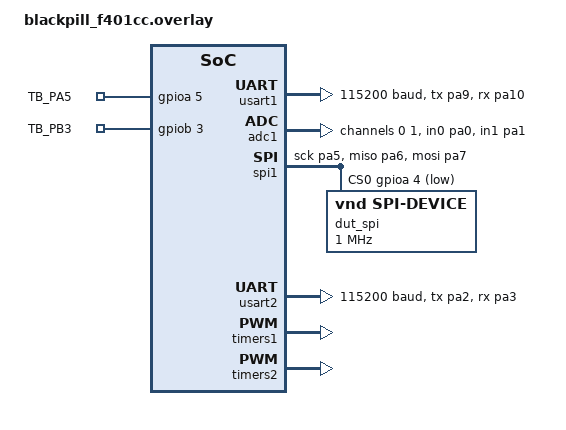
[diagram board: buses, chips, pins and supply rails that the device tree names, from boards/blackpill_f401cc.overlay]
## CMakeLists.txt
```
cmake_minimum_required(VERSION 3.20)
find_package(Zephyr REQUIRED HINTS $ENV{ZEPHYR_BASE})
project(testbench)

target_include_directories(app PRIVATE include)
target_include_directories(app PRIVATE src/dc_motor)

target_sources(app PRIVATE
  src/main.c
  src/tb_gpio.c
  src/tb_pinmap.c
  src/tb_cmds.c
  src/tb_adc.c
  src/tb_spi.c
  src/tb_uart.c
  src/tb_pwm.c
  
  src/dc_motor_math_params.c
  src/dc_motor/dc_motor_math.c
  src/tb_motorsim.c
)
```

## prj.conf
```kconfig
# Shell subsystem
CONFIG_SHELL=y
CONFIG_SHELL_BACKEND_SERIAL=y
CONFIG_SERIAL=y
CONFIG_UART_CONSOLE=y
CONFIG_UART_INTERRUPT_DRIVEN=y
CONFIG_RING_BUFFER=y

# (Optional) Change the shell prompt from "uart:~$" to something custom
CONFIG_SHELL_PROMPT_UART="blackpill:~$ "

CONFIG_SHELL_VT100_COLORS=n

# # Disable echo — critical for Python library parsing later
# CONFIG_SHELL_ECHO_STATUS=n

# Logging (optional, useful for debug)
CONFIG_LOG=y
CONFIG_PRINTK=y
CONFIG_LOG_DEFAULT_LEVEL=3

CONFIG_GPIO=y

CONFIG_ADC=y
CONFIG_ADC_STM32=y

CONFIG_SPI=y

CONFIG_UART_INTERRUPT_DRIVEN=y
CONFIG_RING_BUFFER=y

CONFIG_PWM=y
CONFIG_PWM_CAPTURE=y   # if supported by the STM32 HAL for your Zephyr version
CONFIG_COUNTER=y       # used internally by PWM capture


 # Motor simulation needs floating point + math.h (fabs, etc.)
CONFIG_FPU=y
CONFIG_NEWLIB_LIBC=y
CONFIG_NEWLIB_LIBC_FLOAT_PRINTF=y   # required for %f-ish int-decomposed prints to work cleanly
# Workqueue used to defer model stepping out of timer ISR context
CONFIG_SYSTEM_WORKQUEUE_STACK_SIZE=2048
```

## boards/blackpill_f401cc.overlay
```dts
/ {
    chosen {
        zephyr,shell-uart = &usart1;
    };
};

/* USART1: PA9 (TX) → USB-TTL RX, PA10 (RX) → USB-TTL TX */
&usart1 {
    status = "okay";
    current-speed = <115200>;
    pinctrl-0 = <&usart1_tx_pa9 &usart1_rx_pa10>;
    pinctrl-names = "default";
};

/ {
    testbench_gpios {
        compatible = "gpio-keys";

        tb_pa5: tb_pa5 {
            gpios = <&gpioa 5 GPIO_ACTIVE_HIGH>;
            label = "TB_PA5";
        };
        tb_pb3: tb_pb3 {
            gpios = <&gpiob 3 GPIO_ACTIVE_HIGH>;
            label = "TB_PB3";
        };
        /* add more pins as needed */
    };
};

&gpioa { status = "okay"; };
&gpiob { status = "okay"; };


&adc1 {
    status = "okay";
    #address-cells = <1>;
    #size-cells = <0>;
    pinctrl-0 = <&adc1_in0_pa0 &adc1_in1_pa1>;
    pinctrl-names = "default";
    vref-mv = <3300>;

    channel@0 {
        reg = <0>;
        zephyr,gain = "ADC_GAIN_1";
        zephyr,reference = "ADC_REF_INTERNAL";
        zephyr,acquisition-time = <ADC_ACQ_TIME_DEFAULT>;
        zephyr,resolution = <12>;
    };

    channel@1 {
        reg = <1>;
        zephyr,gain = "ADC_GAIN_1";
        zephyr,reference = "ADC_REF_INTERNAL";
        zephyr,acquisition-time = <ADC_ACQ_TIME_DEFAULT>;
        zephyr,resolution = <12>;
    };
};

/* SPI1: PA5=SCK, PA6=MISO, PA7=MOSI, PA4=CS (software-controlled) */
&spi1 {
    status = "okay";
    pinctrl-0 = <&spi1_sck_pa5 &spi1_miso_pa6 &spi1_mosi_pa7>;
    pinctrl-names = "default";
    cs-gpios = <&gpioa 4 GPIO_ACTIVE_LOW>;

    dut_spi: dut@0 {
        compatible = "vnd,spi-device";
        reg = <0>;
        spi-max-frequency = <1000000>;
    };
};

/* USART2: PA2 (TX → DUT RX), PA3 (RX ← DUT TX) */
&usart2 {
    status = "okay";
    current-speed = <115200>;
    pinctrl-0 = <&usart2_tx_pa2 &usart2_rx_pa3>;
    pinctrl-names = "default";
};

/* TIM1 CH1 on PA8 → PWM output to DUT */
&timers1 {
    status = "okay";
    st,prescaler = <0>;

    pwm1: pwm {
        status = "okay";
        pinctrl-0 = <&tim1_ch1_pa8>;
        pinctrl-names = "default";
    };
};

/* TIM2 CH2 on PA1 → PWM input capture from DUT */
&timers2 {
    status = "okay";
    st,prescaler = <0>;

    pwm2: pwm {
        status = "okay";
        pinctrl-0 = <&tim2_ch2_pa1>;
        pinctrl-names = "default";
    };
};
```

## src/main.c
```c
#include <zephyr/kernel.h>
#include <zephyr/shell/shell.h>
#include <zephyr/shell/shell_uart.h>
#include "tb_motorsim.h"

int main(void)
{    
    printk("Testbench ready. Type 'help' or Start using 'tb'\n");

    tb_motorsim_init();
    printk("Motor Simulation ready. Type 'help' or Start using 'motorsim'\n");
    return 0;
}
```

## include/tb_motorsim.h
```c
/*
 * tb_motorsim.h
 *
 * Testbench DC motor plant simulation - shell command interface.
 * Wraps the Simulink-generated dc_motor_math model and exposes it
 * over the Zephyr shell so Robot Framework / Python tooling can
 * drive it from the host.
 */

#ifndef TB_MOTORSIM_H_
#define TB_MOTORSIM_H_

#include <zephyr/kernel.h>

/* How the testbench reads the DUT's voltage command */
typedef enum {
    TB_MOTORSIM_SRC_ADC = 0,   /* read an analog voltage on an ADC pin */
    TB_MOTORSIM_SRC_PWM = 1,   /* read a PWM duty cycle and treat duty% as the command */
} tb_motorsim_src_t;

/* Called once at boot to register the k_timer / thread plumbing. */
void tb_motorsim_init(void);

#endif /* TB_MOTORSIM_H_ */
```

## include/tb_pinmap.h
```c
/* tb_pinmap.h */
#include <zephyr/drivers/gpio.h>

typedef struct {
    const char *name;        /* "PA5", "PB3", etc. */
    const struct device *port;
    gpio_pin_t pin;
} tb_pin_t;

const tb_pin_t *tb_pin_lookup(const char *name);
```

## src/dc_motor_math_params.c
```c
/*
 * dc_motor_math_params.c
 *
 * Hand-written file (NOT generated by Simulink Coder).
 *
 * The generated dc_motor_math model declares these as `extern` in
 * dc_motor_math_private.h but never defines them anywhere in the
 * generated sources -- normally Simulink bakes these in from MATLAB
 * workspace variables, but that step was skipped/not applicable here.
 *
 * Adjust the numeric values below to match your actual motor's
 * datasheet parameters. Units:
 *   R  - armature resistance       [Ohm]
 *   L  - armature inductance       [H]
 *   J  - rotor inertia             [kg*m^2]
 *   K  - torque/back-EMF constant  [N*m/A]  (Kt == Ke assumed equal, SI units)
 *   b  - viscous friction coeff    [N*m*s]
 *
 * Integrator1_IC = initial speed  [rad/s]
 * Integrator_IC  = initial current [A]
 */

#include "rtwtypes.h"

// real_T dc_motor_math_R = 2.0;          /* Ohm */
// real_T dc_motor_math_L = 0.05;         /* H   */
// real_T dc_motor_math_J = 0.0005;       /* kg*m^2 */
// real_T dc_motor_math_K = 0.1;          /* N*m/A (== V*s/rad) */
// real_T dc_motor_math_b = 0.0003;       /* N*m*s */

// real_T dc_motor_math_Integrator_IC  = 0.0;  /* initial current, A */
// real_T dc_motor_math_Integrator1_IC = 0.0;  /* initial speed, rad/s */


/* ConstVolatile memory section */
/* Definition for custom storage class: ConstVolatile */
 real_T dc_motor_math_Integrator1_IC = 0.0;/* Referenced by: '<Root>/Integrator1' */
 real_T dc_motor_math_Integrator_IC = 0.0;/* Referenced by: '<Root>/Integrator' */
 real_T dc_motor_math_J = 0.01;/* Referenced by: '<Root>/Inertia' */
 real_T dc_motor_math_K = 0.01;/* Referenced by:
                                              * '<Root>/Ke'
                                              * '<Root>/Kt'
                                              */
 real_T dc_motor_math_L = 0.5;/* Referenced by: '<Root>/Inductance' */
 real_T dc_motor_math_R = 1.0;/* Referenced by: '<Root>/Resistance' */
 real_T dc_motor_math_b = 0.1;/* Referenced by: '<Root>/Damping' */
```

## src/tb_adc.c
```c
#include <zephyr/shell/shell.h>
#include <zephyr/drivers/adc.h>

#define ADC_DEV  DEVICE_DT_GET(DT_NODELABEL(adc1))
#define ADC_VREF 3300   /* mV */
#define ADC_RES  12     /* bits */

/* Map "PA0" → channel 0, "PA1" → channel 1, etc. */
int pin_to_channel(const char *pin)
{
    if (strcmp(pin, "PA0") == 0) return 0;
    if (strcmp(pin, "PA1") == 0) return 1;
    if (strcmp(pin, "PA2") == 0) return 2;
    if (strcmp(pin, "PA3") == 0) return 3;
    return -1;
}

int cmd_adc_read(const struct shell *sh, size_t argc, char **argv)
{
    if (argc != 2) {
        shell_error(sh, "ERROR: usage: tb adc read <pin>");
        return -EINVAL;
    }

    int ch = pin_to_channel(argv[1]);
    if (ch < 0) {
        shell_error(sh, "ERROR: unknown ADC pin %s", argv[1]);
        return -ENODEV;
    }

    const struct device *adc = ADC_DEV;
    int16_t buf;
    struct adc_sequence seq = {
        .channels    = BIT(ch),
        .buffer      = &buf,
        .buffer_size = sizeof(buf),
        .resolution  = ADC_RES,
    };

    int ret = adc_read(adc, &seq);
    if (ret < 0) {
        shell_error(sh, "ERROR: adc_read failed %d", ret);
        return ret;
    }

    int32_t mv = (int32_t)buf * ADC_VREF / ((1 << ADC_RES) - 1);
    shell_print(sh, "%d mV", mv);
    return 0;
}
```

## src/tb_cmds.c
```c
#include <zephyr/shell/shell.h>

/* Declared extern in each peripheral's .c file */
extern int cmd_gpio_get(const struct shell *sh, size_t argc, char **argv);
extern int cmd_gpio_set(const struct shell *sh, size_t argc, char **argv);

extern int pin_to_channel(const char *pin);
extern int cmd_adc_read(const struct shell *sh, size_t argc, char **argv);

extern int parse_hex_args(size_t argc, char **argv, uint8_t *out, size_t max);
extern int cmd_spi_transfer(const struct shell *sh, size_t argc, char **argv);

extern int cmd_uart_send(const struct shell *sh, size_t argc, char **argv);
extern int cmd_uart_recv(const struct shell *sh, size_t argc, char **argv);
 
extern int cmd_pwm_set(const struct shell *sh, size_t argc, char **argv);
extern int cmd_pwm_capture(const struct shell *sh, size_t argc, char **argv);

extern int cmd_motorsim_get(const struct shell *sh, size_t argc, char **argv);
extern int cmd_motorsim_stop(const struct shell *sh, size_t argc, char **argv);
extern int cmd_motorsim_start(const struct shell *sh, size_t argc, char **argv);
extern int cmd_motorsim_stream(const struct shell *sh, size_t argc, char **argv);
extern int cmd_motorsim_source(const struct shell *sh, size_t argc, char **argv);
extern int cmd_motorsim_params(const struct shell *sh, size_t argc, char **argv);


SHELL_STATIC_SUBCMD_SET_CREATE(sub_gpio,
    SHELL_CMD_ARG(set, NULL, "set <pin> <0|1>", cmd_gpio_set, 3, 0),
    SHELL_CMD_ARG(get, NULL, "get <pin>",       cmd_gpio_get, 2, 0),
    SHELL_SUBCMD_SET_END
);
SHELL_STATIC_SUBCMD_SET_CREATE(sub_adc,
    SHELL_CMD_ARG(read, NULL, "read <pin>", cmd_adc_read, 2, 0),
    SHELL_SUBCMD_SET_END
);

SHELL_STATIC_SUBCMD_SET_CREATE(sub_spi,
    SHELL_CMD_ARG(trans, NULL, "xfer <bus> <byte>...", cmd_spi_transfer, 3, 62),
    SHELL_SUBCMD_SET_END
);

SHELL_STATIC_SUBCMD_SET_CREATE(sub_uart,
    SHELL_CMD_ARG(send, NULL, "send <dev> <str>", cmd_uart_send, 3, 10),
    SHELL_CMD_ARG(recv, NULL, "recv <dev> <ms>",  cmd_uart_recv, 3, 0),
    SHELL_SUBCMD_SET_END
);

SHELL_STATIC_SUBCMD_SET_CREATE(sub_pwm,
    SHELL_CMD_ARG(set,     NULL, "set <pin> <hz> <duty%>", cmd_pwm_set, 4, 0),
    SHELL_CMD_ARG(capture, NULL, "capture <pin>",          cmd_pwm_capture, 1, 1),
    SHELL_SUBCMD_SET_END
);

SHELL_STATIC_SUBCMD_SET_CREATE(sub_motorsim,
    SHELL_CMD_ARG(start,  NULL, "start <adc|pwm> <pin> [vmax_mv]",  cmd_motorsim_start,  3, 1),
    SHELL_CMD_ARG(stop,   NULL, "stop the simulation",              cmd_motorsim_stop,   1, 0),
    SHELL_CMD_ARG(get,    NULL, "get current state (one-shot)",     cmd_motorsim_get,    1, 0),
    SHELL_CMD_ARG(stream, NULL, "stream <on|off>",                  cmd_motorsim_stream, 2, 0),
    SHELL_CMD_ARG(source, NULL, "source <adc|pwm> <pin>",           cmd_motorsim_source, 3, 0),
    SHELL_CMD_ARG(params, NULL, "params <R> <L> <J> <K> <b>",       cmd_motorsim_params, 6, 0),
    SHELL_SUBCMD_SET_END
);

static int cmd_ping(const struct shell *sh, size_t argc, char **argv)
{
    shell_print(sh, "pong");
    return 0;
}

SHELL_STATIC_SUBCMD_SET_CREATE(sub_tb,
    SHELL_CMD(gpio,  &sub_gpio,  "GPIO control (set/get)",         NULL),
    SHELL_CMD(adc,   &sub_adc,   "ADC read (read)",                NULL),
    SHELL_CMD(spi,   &sub_spi,   "SPI transfer (trans)",            NULL),
    SHELL_CMD(uart,  &sub_uart,  "UART to DUT (send/recv)",        NULL),
    SHELL_CMD(pwm,   &sub_pwm,   "PWM output and capture",         NULL),
    SHELL_CMD(motorsim, &sub_motorsim, "DC motor plant simulation", NULL),
    SHELL_CMD(ping, NULL, "Ping testbench", cmd_ping),
    SHELL_SUBCMD_SET_END
);

SHELL_CMD_REGISTER(tb, &sub_tb, "Testbench commands", NULL);
```

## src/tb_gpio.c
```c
#include <zephyr/shell/shell.h>
#include <zephyr/drivers/gpio.h>
#include <zephyr/kernel.h>
#include <stdlib.h>
#include "tb_pinmap.h"

int cmd_gpio_set(const struct shell *sh, size_t argc, char **argv)
{
    if (argc != 3) {
        shell_error(sh, "ERROR: usage: tb gpio set <pin> <0|1>");
        return -EINVAL;
    }
    const tb_pin_t *p = tb_pin_lookup(argv[1]);
    if (!p) {
        shell_error(sh, "ERROR: unknown pin %s", argv[1]);
        return -ENODEV;
    }
    int val = atoi(argv[2]);
    gpio_pin_configure(p->port, p->pin, GPIO_OUTPUT);
    gpio_pin_set(p->port, p->pin, val);
    shell_print(sh, "OK");
    return 0;
}

int cmd_gpio_get(const struct shell *sh, size_t argc, char **argv)
{
    if (argc != 2) {
        shell_error(sh, "ERROR: usage: tb gpio get <pin>");
        return -EINVAL;
    }
    const tb_pin_t *p = tb_pin_lookup(argv[1]);
    if (!p) {
        shell_error(sh, "ERROR: unknown pin %s", argv[1]);
        return -ENODEV;
    }
    gpio_pin_configure(p->port, p->pin, GPIO_INPUT);
    int val = gpio_pin_get(p->port, p->pin);
    shell_print(sh, "%d", val);
    return 0;
}
```

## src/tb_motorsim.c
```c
/*
 * tb_motorsim.c
 *
 * Testbench DC motor plant simulation.
 *
 * Wraps the Simulink-generated dc_motor_math model (voltage -> speed,
 * 2 continuous states: armature current, rotor speed) and drives it
 * from a real DUT input signal that can be EITHER:
 *
 *   - an analog voltage read via ADC                  (tb motorsim start adc <pin>)
 *   - a PWM duty cycle, interpreted as 0-100% -> 0-Vmax (tb motorsim start pwm <pin>)
 *
 * The simulated speed is:
 *   - readable on demand          (tb motorsim get)
 *   - streamed continuously       (tb motorsim stream on/off)
 *     Uses uart_poll_out() directly to bypass printk/log subsystem,
 *     guaranteeing raw MSIM lines reach the host without prefixing
 *     or buffering issues.
 *
 * Shell command tree (registered in tb_cmds.c):
 *   tb motorsim start <adc|pwm> <pin> [vmax_mv]
 *   tb motorsim stop
 *   tb motorsim get
 *   tb motorsim stream <on|off>
 *   tb motorsim source <adc|pwm> <pin>      (change source while NOT running)
 *   tb motorsim params <R> <L> <J> <K> <b>  (override plant parameters at runtime)
 */

#include <zephyr/kernel.h>
#include <zephyr/shell/shell.h>
#include <zephyr/drivers/adc.h>
#include <zephyr/drivers/pwm.h>
#include <zephyr/drivers/uart.h>
#include <zephyr/device.h>
#include <stdlib.h>
#include <string.h>
#include <stdio.h>
#include <math.h>     /* fabs() */

#include "dc_motor_math.h"
#include "tb_motorsim.h"

/* ------------------------------------------------------------------ */
/* Configuration                                                       */
/* ------------------------------------------------------------------ */

#define MOTORSIM_STEP_MS   200     /* must match dc_motor_math_M->Timing.stepSize0 (0.2s) */
#define ADC_RESOLUTION     12
#define ADC_VREF_MV        3300
#define DEFAULT_VMAX_MV    3300    /* voltage that maps to 100% PWM duty or full-scale ADC */

#define ADC_DEV_NODE       DT_NODELABEL(adc1)
#define PWM_IN_DEV_NODE    DT_NODELABEL(pwm2)   /* capture-capable PWM timer, see Stage 7 overlay */

/* Shell UART device for raw stream output (bypass printk/logging) */
#define SHELL_UART_NODE    DT_NODELABEL(usart1)

/* ------------------------------------------------------------------ */
/* State                                                               */
/* ------------------------------------------------------------------ */

static struct k_timer       motorsim_timer;
static struct k_work        motorsim_work;
static bool                 sim_running;
static bool                 stream_enabled;
static tb_motorsim_src_t    input_source = TB_MOTORSIM_SRC_ADC;
static int                  input_channel = 0;   /* ADC channel index OR PWM capture channel index */
static uint32_t             vmax_mv = DEFAULT_VMAX_MV;
static uint32_t             step_count;

static const struct device *adc_dev;
static const struct device *pwm_in_dev;
static const struct device *shell_uart_dev;

/* ------------------------------------------------------------------ */
/* Pin name -> ADC channel lookup (extend as needed, mirrors Stage 4) */
/* ------------------------------------------------------------------ */

static int pin_to_adc_channel(const char *pin)
{
    if (strcmp(pin, "PA0") == 0) return 0;
    if (strcmp(pin, "PA1") == 0) return 1;
    if (strcmp(pin, "PA2") == 0) return 2;
    if (strcmp(pin, "PA3") == 0) return 3;
    return -1;
}

/* PWM capture channel lookup -- mirrors Stage 7 overlay (pwm2 = TIM2 CH2 on PA1) */
static int pin_to_pwm_channel(const char *pin)
{
    if (strcmp(pin, "PA1") == 0) return 1;   /* TIM2 CH2 */
    return -1;
}

/* ------------------------------------------------------------------ */
/* Raw UART output helper (bypasses printk/log subsystem)            */
/* ------------------------------------------------------------------ */

static void shell_uart_write_line(const char *buf, size_t len)
{
    if (!shell_uart_dev) {
        return;
    }
    for (size_t i = 0; i < len; i++) {
        uart_poll_out(shell_uart_dev, buf[i]);
    }
}

/* ------------------------------------------------------------------ */
/* ADC read helper (properly configured)                              */
/* ------------------------------------------------------------------ */

static int16_t adc_read_channel(int channel)
{
    int16_t buf = 0;

    struct adc_sequence seq = {
        .channels    = BIT(channel),
        .buffer      = &buf,
        .buffer_size = sizeof(buf),
        .resolution  = ADC_RESOLUTION,
    };

    int ret = adc_read(adc_dev, &seq);
    if (ret < 0) {
        return -1;
    }

    return buf;
}

/* ------------------------------------------------------------------ */
/* Input acquisition                                                   */
/* ------------------------------------------------------------------ */

/* Returns the DUT's commanded voltage in volts (0.0 - vmax_mv/1000.0) */
static real_T read_input_voltage(void)
{
    if (input_source == TB_MOTORSIM_SRC_ADC) {
        int16_t raw = adc_read_channel(input_channel);
        if (raw < 0) {
            return 0.0;
        }

        /* Convert raw ADC to millivolts */
        int32_t mv = ((int32_t)raw * ADC_VREF_MV) / ((1 << ADC_RESOLUTION) - 1);
        if (mv < 0) mv = 0;

        return (real_T)mv / 1000.0;

    } else {
        /* PWM source: capture duty cycle, map 0-100% -> 0-vmax */
        uint64_t period_ns = 0, pulse_ns = 0;
        int ret = pwm_capture_nsec(pwm_in_dev, input_channel,
                                   PWM_CAPTURE_TYPE_BOTH,
                                   &period_ns, &pulse_ns,
                                   K_MSEC(50));
        if (ret < 0 || period_ns == 0) {
            return 0.0;
        }
        uint32_t duty_pct = (uint32_t)((uint64_t)pulse_ns * 100U / period_ns);
        if (duty_pct > 100) duty_pct = 100;
        return ((real_T)duty_pct / 100.0) * ((real_T)vmax_mv / 1000.0);
    }
}

/* ------------------------------------------------------------------ */
/* Format helpers: convert double to "int.frac" safely                */
/* ------------------------------------------------------------------ */

static void fmt_double(char *buf, size_t buflen, real_T val)
{
    /* Handle NaN/inf */
    if (!isfinite(val)) {
        snprintf(buf, buflen, "0.000");
        return;
    }

    int sign = (val < 0) ? -1 : 1;
    real_T absval = val * sign;
    int intpart = (int)absval;
    int fracpart = (int)((absval - intpart) * 1000.0 + 0.5);
    if (fracpart >= 1000) { fracpart = 0; intpart++; }

    if (sign < 0) {
        snprintf(buf, buflen, "-%d.%03d", intpart, fracpart);
    } else {
        snprintf(buf, buflen, "%d.%03d", intpart, fracpart);
    }
}

/* ------------------------------------------------------------------ */
/* Simulation step (runs in a workqueue, NOT in timer ISR context)    */
/* ------------------------------------------------------------------ */

static void motorsim_work_handler(struct k_work *work)
{
    ARG_UNUSED(work);

    if (!sim_running) {
        return;
    }

    /* 1. Acquire the DUT's voltage command from the selected source */
    dc_motor_math_U.voltage_in = read_input_voltage();
    dc_motor_math_U.load_in = 0.0;  /* no external load by default */

    /* 2. Step the model (internally runs the ODE3 fixed-step solver) */
    dc_motor_math_step();
    step_count++;

    /* 3. Stream a line to the host if streaming is enabled.
     *    Uses uart_poll_out() directly to bypass printk/log subsystem,
     *    preventing timestamp prefixing, buffering, or dropped lines.
     *    Format: MSIM,t_ms,voltage_v,speed_radps,current_a
     */
    if (stream_enabled) {
        real_T current = dc_motor_math_X.Integrator_CSTATE;
        real_T speed   = dc_motor_math_X.Integrator1_CSTATE;
        uint32_t t_ms  = step_count * MOTORSIM_STEP_MS;

        char v_str[16], s_str[16], c_str[16];
        fmt_double(v_str, sizeof(v_str), dc_motor_math_U.voltage_in);
        fmt_double(s_str, sizeof(s_str), speed);
        fmt_double(c_str, sizeof(c_str), current);

        char line[96];
        int n = snprintf(line, sizeof(line),
            "MSIM,%u,%s,%s,%s\n",
            t_ms, v_str, s_str, c_str);

        if (n > 0 && n < (int)sizeof(line)) {
            shell_uart_write_line(line, (size_t)n);
        }
    }
}

static void motorsim_timer_handler(struct k_timer *timer)
{
    ARG_UNUSED(timer);
    /* Defer the actual work out of ISR context */
    k_work_submit(&motorsim_work);
}

/* ------------------------------------------------------------------ */
/* Shell commands                                                      */
/* ------------------------------------------------------------------ */

int cmd_motorsim_start(const struct shell *sh, size_t argc, char **argv)
{
    if (sim_running) {
        shell_error(sh, "ERROR: simulation already running");
        return -EALREADY;
    }
    if (argc < 3) {
        shell_error(sh, "ERROR: usage: tb motorsim start <adc|pwm> <pin> [vmax_mv]");
        return -EINVAL;
    }

    if (strcmp(argv[1], "adc") == 0) {
        int ch = pin_to_adc_channel(argv[2]);
        if (ch < 0) {
            shell_error(sh, "ERROR: unknown ADC pin %s", argv[2]);
            return -ENODEV;
        }
        input_source  = TB_MOTORSIM_SRC_ADC;
        input_channel = ch;
    } else if (strcmp(argv[1], "pwm") == 0) {
        int ch = pin_to_pwm_channel(argv[2]);
        if (ch < 0) {
            shell_error(sh, "ERROR: unknown PWM capture pin %s", argv[2]);
            return -ENODEV;
        }
        input_source  = TB_MOTORSIM_SRC_PWM;
        input_channel = ch;
    } else {
        shell_error(sh, "ERROR: source must be 'adc' or 'pwm', got '%s'", argv[1]);
        return -EINVAL;
    }

    if (argc >= 4) {
        vmax_mv = (uint32_t)atoi(argv[3]);
    } else {
        vmax_mv = DEFAULT_VMAX_MV;
    }

    dc_motor_math_initialize();
    step_count = 0;
    sim_running = true;
    stream_enabled = false;

    k_timer_start(&motorsim_timer, K_MSEC(MOTORSIM_STEP_MS), K_MSEC(MOTORSIM_STEP_MS));

    shell_print(sh, "OK source=%s pin=%s vmax_mv=%u step_ms=%u",
                argv[1], argv[2], vmax_mv, MOTORSIM_STEP_MS);
    return 0;
}

int cmd_motorsim_stop(const struct shell *sh, size_t argc, char **argv)
{
    ARG_UNUSED(argc);
    ARG_UNUSED(argv);

    if (!sim_running) {
        shell_error(sh, "ERROR: simulation not running");
        return -EALREADY;
    }
    k_timer_stop(&motorsim_timer);
    dc_motor_math_terminate();
    sim_running = false;
    stream_enabled = false;
    shell_print(sh, "OK");
    return 0;
}

int cmd_motorsim_get(const struct shell *sh, size_t argc, char **argv)
{
    ARG_UNUSED(argc);
    ARG_UNUSED(argv);

    if (!sim_running) {
        shell_error(sh, "ERROR: simulation not running");
        return -EAGAIN;
    }

    real_T current = dc_motor_math_X.Integrator_CSTATE;
    real_T speed   = dc_motor_math_X.Integrator1_CSTATE;

    char v_str[16], s_str[16], c_str[16];
    fmt_double(v_str, sizeof(v_str), dc_motor_math_U.voltage_in);
    fmt_double(s_str, sizeof(s_str), speed);
    fmt_double(c_str, sizeof(c_str), current);

    shell_print(sh, "t_ms=%u voltage_v=%s speed_radps=%s current_a=%s",
                step_count * MOTORSIM_STEP_MS, v_str, s_str, c_str);
    return 0;
}

int cmd_motorsim_stream(const struct shell *sh, size_t argc, char **argv)
{
    if (argc != 2) {
        shell_error(sh, "ERROR: usage: tb motorsim stream <on|off>");
        return -EINVAL;
    }
    if (strcmp(argv[1], "on") == 0) {
        stream_enabled = true;
        shell_print(sh, "OK streaming on (format: MSIM,t_ms,voltage_v,speed_radps,current_a)");
    } else if (strcmp(argv[1], "off") == 0) {
        stream_enabled = false;
        shell_print(sh, "OK streaming off");
    } else {
        shell_error(sh, "ERROR: must be 'on' or 'off'");
        return -EINVAL;
    }
    return 0;
}

int cmd_motorsim_source(const struct shell *sh, size_t argc, char **argv)
{
    /* Allows changing source without starting the sim (e.g. for setup verification) */
    if (sim_running) {
        shell_error(sh, "ERROR: stop the simulation before changing source");
        return -EBUSY;
    }
    if (argc != 3) {
        shell_error(sh, "ERROR: usage: tb motorsim source <adc|pwm> <pin>");
        return -EINVAL;
    }
    if (strcmp(argv[1], "adc") == 0) {
        int ch = pin_to_adc_channel(argv[2]);
        if (ch < 0) {
            shell_error(sh, "ERROR: unknown ADC pin %s", argv[2]);
            return -ENODEV;
        }
        input_source = TB_MOTORSIM_SRC_ADC;
        input_channel = ch;
    } else if (strcmp(argv[1], "pwm") == 0) {
        int ch = pin_to_pwm_channel(argv[2]);
        if (ch < 0) {
            shell_error(sh, "ERROR: unknown PWM capture pin %s", argv[2]);
            return -ENODEV;
        }
        input_source = TB_MOTORSIM_SRC_PWM;
        input_channel = ch;
    } else {
        shell_error(sh, "ERROR: source must be 'adc' or 'pwm'");
        return -EINVAL;
    }
    shell_print(sh, "OK");
    return 0;
}

int cmd_motorsim_params(const struct shell *sh, size_t argc, char **argv)
{
    /* tb motorsim params <R> <L> <J> <K> <b> */
    extern real_T dc_motor_math_R, dc_motor_math_L, dc_motor_math_J;
    extern real_T dc_motor_math_K, dc_motor_math_b;

    if (sim_running) {
        shell_error(sh, "ERROR: stop the simulation before changing params");
        return -EBUSY;
    }
    if (argc != 6) {
        shell_error(sh, "ERROR: usage: tb motorsim params <R> <L> <J> <K> <b>");
        return -EINVAL;
    }
    dc_motor_math_R = atof(argv[1]);
    dc_motor_math_L = atof(argv[2]);
    dc_motor_math_J = atof(argv[3]);
    dc_motor_math_K = atof(argv[4]);
    dc_motor_math_b = atof(argv[5]);

    shell_print(sh, "OK R=%s L=%s J=%s K=%s b=%s",
                argv[1], argv[2], argv[3], argv[4], argv[5]);
    return 0;
}

/* ------------------------------------------------------------------ */
/* Init                                                                */
/* ------------------------------------------------------------------ */

void tb_motorsim_init(void)
{
    adc_dev    = DEVICE_DT_GET(ADC_DEV_NODE);
    pwm_in_dev = DEVICE_DT_GET(PWM_IN_DEV_NODE);
    shell_uart_dev = DEVICE_DT_GET(SHELL_UART_NODE);

    k_work_init(&motorsim_work, motorsim_work_handler);
    k_timer_init(&motorsim_timer, motorsim_timer_handler, NULL);
}
```

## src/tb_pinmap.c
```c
/* tb_pinmap.c */
#include "tb_pinmap.h"
#include <zephyr/device.h>

static const tb_pin_t pin_table[] = {
    { "PA5", DEVICE_DT_GET(DT_NODELABEL(gpioa)), 5 },
    { "PA6", DEVICE_DT_GET(DT_NODELABEL(gpioa)), 6 },
    { "PB3", DEVICE_DT_GET(DT_NODELABEL(gpiob)), 3 },
    { "PB4", DEVICE_DT_GET(DT_NODELABEL(gpiob)), 4 },
    /* extend as needed */
    { NULL, NULL, 0 }
};

const tb_pin_t *tb_pin_lookup(const char *name)
{
    for (int i = 0; pin_table[i].name != NULL; i++) {
        if (strcmp(pin_table[i].name, name) == 0) {
            return &pin_table[i];
        }
    }
    return NULL;
}
```

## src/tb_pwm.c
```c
#include <zephyr/shell/shell.h>
#include <zephyr/drivers/pwm.h>
#include <stdlib.h>

#define PWM_OUT_DEV  DEVICE_DT_GET(DT_NODELABEL(pwm1))
#define PWM_OUT_CH   1
#define PWM_IN_DEV   DEVICE_DT_GET(DT_NODELABEL(pwm2))
#define PWM_IN_CH    2

int cmd_pwm_set(const struct shell *sh, size_t argc, char **argv)
{
    if (argc != 4) {
        shell_error(sh, "ERROR: usage: tb pwm set <pin> <freq_hz> <duty_pct>");
        return -EINVAL;
    }
    uint32_t freq_hz  = atoi(argv[2]);
    uint32_t duty_pct = atoi(argv[3]);

    if (freq_hz == 0 || duty_pct > 100) {
        shell_error(sh, "ERROR: invalid freq or duty");
        return -EINVAL;
    }

    uint32_t period_ns = 1000000000U / freq_hz;
    uint32_t pulse_ns  = period_ns * duty_pct / 100;

    int ret = pwm_set(PWM_OUT_DEV, PWM_OUT_CH,
                      PWM_NSEC(period_ns), PWM_NSEC(pulse_ns), 0);
    if (ret < 0) {
        shell_error(sh, "ERROR: pwm_set failed %d", ret);
        return ret;
    }
    shell_print(sh, "OK");
    return 0;
}

int cmd_pwm_capture(const struct shell *sh, size_t argc, char **argv)
{
    uint64_t period_ns, pulse_ns;
    int ret = pwm_capture_nsec(PWM_IN_DEV, PWM_IN_CH,
                               PWM_CAPTURE_TYPE_BOTH,
                               &period_ns, &pulse_ns,
                               K_MSEC(500));
    if (ret < 0) {
        shell_error(sh, "ERROR: pwm_capture failed %d", ret);
        return ret;
    }
    uint32_t freq_hz  = 1000000000U / period_ns;
    uint32_t duty_pct = pulse_ns * 100 / period_ns;
    shell_print(sh, "%u Hz %u pct", freq_hz, duty_pct);
    return 0;
}
```

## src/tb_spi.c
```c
#include <zephyr/shell/shell.h>
#include <zephyr/drivers/spi.h>
#include <stdlib.h>

#define SPI_DEV  DEVICE_DT_GET(DT_NODELABEL(spi1))

static const struct spi_config spi_cfg = {
    .frequency = 1000000,
    .operation = SPI_WORD_SET(8) | SPI_TRANSFER_MSB | SPI_OP_MODE_MASTER,
};

/* Parse "DE AD BE EF" into byte array. Returns byte count, -1 on error. */
int parse_hex_args(size_t argc, char **argv, uint8_t *out, size_t max)
{
    int n = 0;
    for (size_t i = 0; i < argc && n < (int)max; i++, n++) {
        char *end;
        out[n] = (uint8_t)strtoul(argv[i], &end, 16);
        if (*end != '\0') return -1;
    }
    return n;
}

int cmd_spi_transfer(const struct shell *sh, size_t argc, char **argv)
{
    /* argv[1]=bus index (0), argv[2..] = hex bytes */
    if (argc < 3) {
        shell_error(sh, "ERROR: usage: tb spi xfer <bus> <byte_hex>...");
        return -EINVAL;
    }

    uint8_t tx_buf[64], rx_buf[64];
    int n = parse_hex_args(argc - 2, &argv[2], tx_buf, sizeof(tx_buf));
    if (n < 0) {
        shell_error(sh, "ERROR: invalid hex byte");
        return -EINVAL;
    }

    const struct spi_buf tx = { .buf = tx_buf, .len = n };
    const struct spi_buf rx = { .buf = rx_buf, .len = n };
    const struct spi_buf_set tx_set = { .buffers = &tx, .count = 1 };
    const struct spi_buf_set rx_set = { .buffers = &rx, .count = 1 };

    int ret = spi_transceive(SPI_DEV, &spi_cfg, &tx_set, &rx_set);
    if (ret < 0) {
        shell_error(sh, "ERROR: spi_transceive failed %d", ret);
        return ret;
    }

    for (int i = 0; i < n; i++) {
        shell_fprintf(sh, SHELL_NORMAL, "%02X", rx_buf[i]);
        if (i < n - 1) shell_fprintf(sh, SHELL_NORMAL, " ");
    }
    shell_print(sh, "");   /* newline */
    return 0;
}
```

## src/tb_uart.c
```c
#include <zephyr/shell/shell.h>
#include <zephyr/drivers/uart.h>
#include <zephyr/sys/ring_buffer.h>
#include <stdlib.h>

#define DUT_UART  DEVICE_DT_GET(DT_NODELABEL(usart2))
#define RX_BUF_SIZE 256

RING_BUF_DECLARE(uart_rx_ring, RX_BUF_SIZE);

static void uart_rx_isr(const struct device *dev, void *user_data)
{
    uint8_t c;
    while (uart_irq_update(dev) && uart_irq_rx_ready(dev)) {
        uart_fifo_read(dev, &c, 1);
        ring_buf_put(&uart_rx_ring, &c, 1);
    }
}

static int uart_init_dut(void)
{
    const struct device *uart = DUT_UART;
    if (!device_is_ready(uart)) {
        return -ENODEV;
    }
    uart_irq_callback_set(uart, uart_rx_isr);
    uart_irq_rx_enable(uart);
    return 0;
}
SYS_INIT(uart_init_dut, APPLICATION, 90);

int cmd_uart_send(const struct shell *sh, size_t argc, char **argv)
{
    if (argc < 3) {
        shell_error(sh, "ERROR: usage: tb uart send <dev> <string>");
        return -EINVAL;
    }
    /* argv[2] is the string; concatenate remaining args with spaces */
    const struct device *uart = DUT_UART;
    for (int i = 2; i < (int)argc; i++) {
        for (char *c = argv[i]; *c; c++) uart_poll_out(uart, *c);
        if (i < (int)argc - 1) uart_poll_out(uart, ' ');
    }
    uart_poll_out(uart, '\r');
    uart_poll_out(uart, '\n');
    shell_print(sh, "OK");
    return 0;
}

int cmd_uart_recv(const struct shell *sh, size_t argc, char **argv)
{
    if (argc != 3) {
        shell_error(sh, "ERROR: usage: tb uart recv <dev> <timeout_ms>");
        return -EINVAL;
    }
    int timeout_ms = atoi(argv[2]);
    uint8_t buf[128];
    uint32_t len = 0;
    int64_t deadline = k_uptime_get() + timeout_ms;

    while (k_uptime_get() < deadline) {
        uint32_t got = ring_buf_get(&uart_rx_ring, buf + len,
                                    sizeof(buf) - len - 1);
        len += got;
        if (len > 0 && buf[len-1] == '\n') break;
        k_sleep(K_MSEC(5));
    }

    if (len == 0) {
        shell_error(sh, "ERROR: timeout, no data");
        return -ETIMEDOUT;
    }
    buf[len] = '\0';
    shell_print(sh, "%s", buf);
    return 0;
}
```
